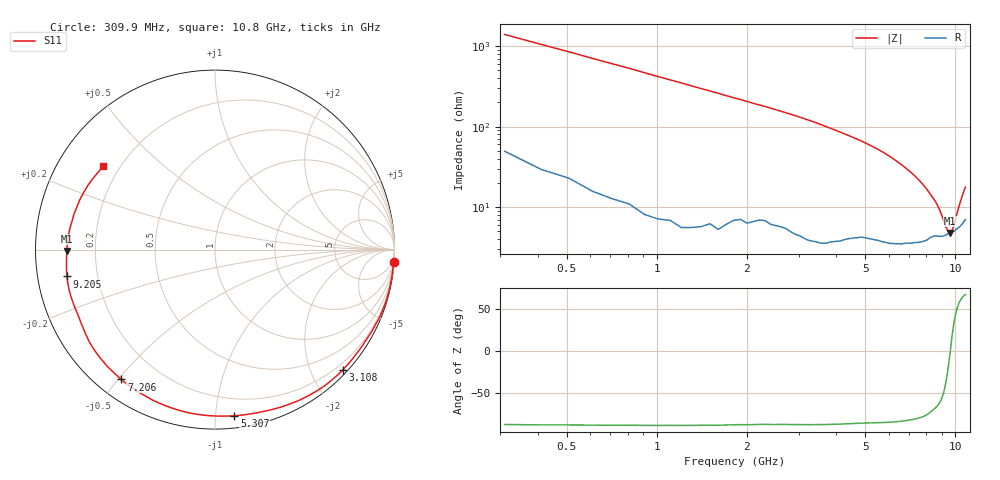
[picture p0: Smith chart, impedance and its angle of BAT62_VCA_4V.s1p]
! Infineon Technologies  Discrete & RF Semiconductors
! BAT62
! VCA = 4 V
! One-Port S-Parameters
# Hz  S  MA  R  50
!f  S11
!Hz  Mag  Ang
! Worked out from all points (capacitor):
!   106 points, 309.9 MHz to 10.8 GHz, reference 50 ohm
!   read as one part to ground: C = 368 fF near 309.9 MHz
!   lowest |Z| = 4.76 ohm at 9.605 GHz (marker M1)
!   series resonance near 9.623 GHz, so ESL is about 740 pH
!   S11 on the Smith chart (normalised r, x): 309.9 MHz: 1, -28; 3.108 GHz: 0.08, -2.52; 5.307 GHz: 0.08, -1.12; 7.206 GHz: 0.07, -0.51; 9.205 GHz: 0.09, -0.09; 10.8 GHz: 0.14, +0.33
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3.0985e8  0.9975 -4.1
1.0095e9  0.996 -13.6
1.70915e9  0.9901 -23.3
2.4088e9  0.9807 -32.8
3.0085e9  0.9779 -41.6
3.10845e9  0.9778 -43.2
3.6082e9  0.9735 -51.5
4.10795e9  0.9623 -60.5
4.30785e9  0.956 -64.1
4.70765e9  0.9445 -71.5
5.30735e9  0.9318 -83.4
5.6072e9  0.9272 -89.8
5.90705e9  0.9229 -96.3
6.30685e9  0.9147 -105.5
6.6067e9  0.908 -112.3
6.90655e9  0.899 -119.1
7.2064e9  0.8919 -125.8
7.70615e9  0.8795 -136.9
8.006e9  0.869 -143.6
8.2059e9  0.8581 -147.9
8.8056e9  0.8443 -160.1
9.2054e9  0.838 -169.7
9.50525e9  0.828 -177.1
9.6052e9  0.8262 -179.5
9.90505e9  0.8176 172.0
1.030485e10  0.803 159.7
1.050475e10  0.7936 153.3
1.08046e10  0.7759 143.2
